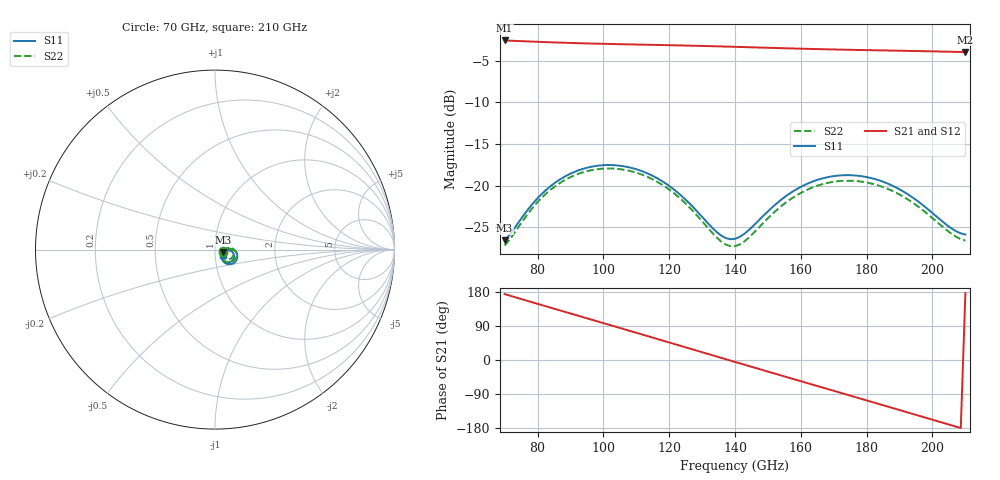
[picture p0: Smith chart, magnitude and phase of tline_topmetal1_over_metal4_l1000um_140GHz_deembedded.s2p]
! Created with skrf 2.0.1 (http://scikit-rf.org).
# GHz S DB R 50.0
!freq dBS11 angS11 dBS21 angS21 dBS12 angS12 dBS22 angS22
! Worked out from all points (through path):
!   101 points, 70 GHz to 210 GHz, reference 50 ohm
!   highest |S21| = -2.54 dB at 70 GHz (marker M1); lowest = -3.9 dB at 210 GHz (marker M2)
!   group delay of S21, straight-line fit = 7.08 ps
!   lowest |S11| = -26.6 dB at 70 GHz (marker M3), VSWR 1.10, Z = 54.7 - j1.38 ohm
!   |S11| at or under -10 dB: start of sweep to end of sweep
!   |S22| runs from -27.3 to -17.9 dB; largest |S21 - S12| = 7.4e-14
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70  -26.60 -15.6  -2.54 173.9  -2.54 173.9  -27.20 -13.8
75.6  -23.66 1.4  -2.64 159.5  -2.64 159.5  -24.18 4.5
82.6  -20.52 1.6  -2.74 141.6  -2.74 141.6  -20.96 5.2
93.8  -17.98 -12.5  -2.88 113.1  -2.88 113.1  -18.39 -8.4
99.4  -17.56 -21.3  -2.94 98.9  -2.94 98.9  -17.97 -17.0
105  -17.61 -30.4  -2.99 84.6  -2.99 84.6  -18.02 -25.9
110.6  -18.10 -39.2  -3.04 70.3  -3.04 70.3  -18.52 -34.6
117.6  -19.40 -48.8  -3.09 52.4  -3.09 52.4  -19.83 -44.0
128.8  -23.23 -53.9  -3.19 23.7  -3.19 23.7  -23.74 -49.3
135.8  -26.01 -39.9  -3.26 5.7  -3.26 5.7  -26.73 -35.4
140  -26.40 -23.9  -3.31 -5.0  -3.31 -5.0  -27.28 -18.5
144.2  -25.35 -10.5  -3.36 -15.8  -3.36 -15.8  -26.26 -3.7
151.2  -22.65 -2.8  -3.44 -33.6  -3.44 -33.6  -23.46 5.3
158.2  -20.55 -6.4  -3.51 -51.4  -3.51 -51.4  -21.29 2.3
163.8  -19.48 -12.7  -3.57 -65.6  -3.57 -65.6  -20.18 -3.7
169.4  -18.89 -20.4  -3.62 -79.8  -3.62 -79.8  -19.58 -11.1
175  -18.75 -28.5  -3.67 -94.0  -3.67 -94.0  -19.41 -19.0
180.6  -19.02 -36.6  -3.71 -108.2  -3.71 -108.2  -19.67 -26.8
187.6  -19.96 -45.4  -3.76 -126.0  -3.76 -126.0  -20.60 -35.4
198.8  -22.90 -51.7  -3.84 -154.5  -3.84 -154.5  -23.51 -41.5
204.4  -24.75 -46.4  -3.89 -168.8  -3.89 -168.8  -25.38 -36.5
210  -25.88 -33.0  -3.94 176.9  -3.94 176.9  -26.61 -23.3
